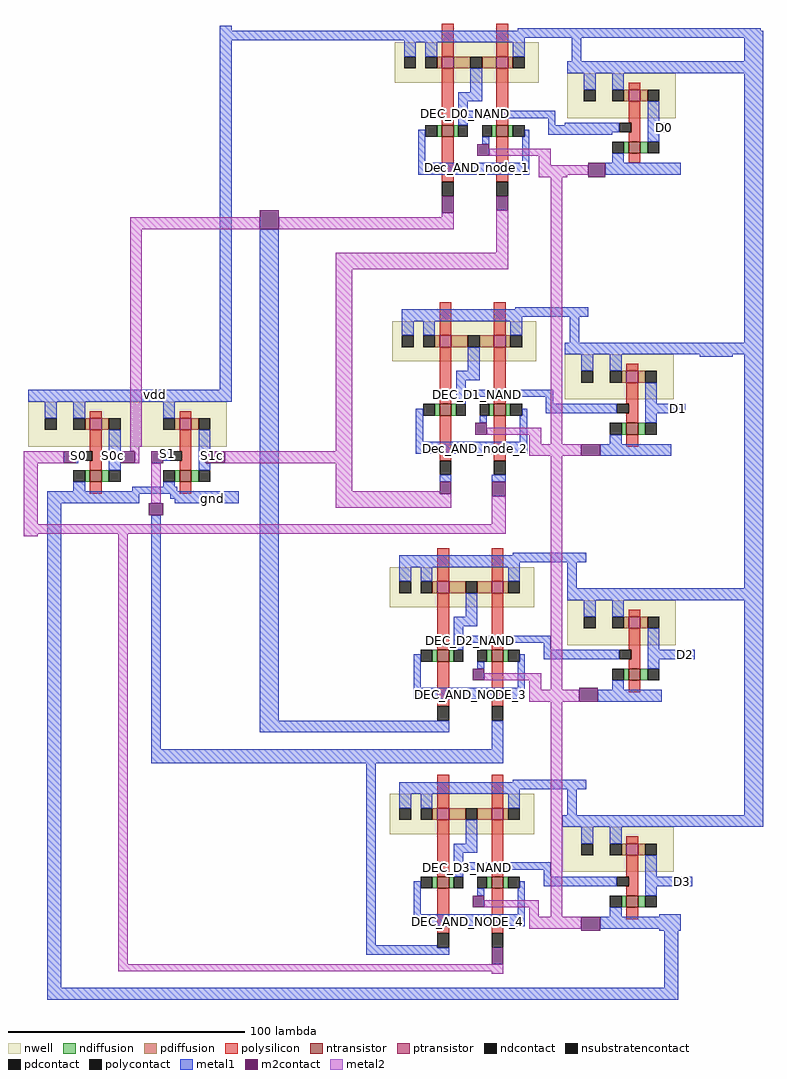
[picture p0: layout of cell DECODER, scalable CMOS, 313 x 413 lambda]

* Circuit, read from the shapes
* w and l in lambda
.subckt DECODER D0 D1 D2 D3 DEC_AND_NODE_3 DEC_AND_NODE_4 DEC_D0_NAND DEC_D1_NAND DEC_D2_NAND DEC_D3_NAND Dec_AND_node_1 Dec_AND_node_2 S0 S0c S1 S1c gnd vdd
M1 S0c S0 gnd VSUBS nfet w=5 l=5
M2 S1c S1 gnd VSUBS nfet w=5 l=5
M3 DEC_D3_NAND S1 DEC_AND_NODE_4 VSUBS nfet w=5 l=5
M4 DEC_D2_NAND S0c DEC_AND_NODE_3 VSUBS nfet w=5 l=5
M5 DEC_D1_NAND S1c Dec_AND_node_2 VSUBS nfet w=5 l=5
M6 DEC_D0_NAND S0c Dec_AND_node_1 VSUBS nfet w=5 l=5
M7 DEC_AND_NODE_4 S0 gnd VSUBS nfet w=5 l=5
M8 DEC_AND_NODE_3 S1 gnd VSUBS nfet w=5 l=5
M9 Dec_AND_node_2 S0 gnd VSUBS nfet w=5 l=5
M10 Dec_AND_node_1 S1c gnd VSUBS nfet w=5 l=5
M11 D3 DEC_D3_NAND gnd VSUBS nfet w=5 l=5
M12 D1 DEC_D1_NAND gnd VSUBS nfet w=5 l=5
M13 D2 DEC_D2_NAND gnd VSUBS nfet w=5 l=5
M14 D0 DEC_D0_NAND gnd VSUBS nfet w=5 l=5
M15 S0c S0 vdd vdd pfet w=5 l=5
M16 S1c S1 vdd vdd pfet w=5 l=5
M17 DEC_D3_NAND S1 vdd vdd pfet w=5 l=5
M18 DEC_D2_NAND S0c vdd vdd pfet w=5 l=5
M19 DEC_D1_NAND S1c vdd vdd pfet w=5 l=5
M20 DEC_D0_NAND S0c vdd vdd pfet w=5 l=5
M21 vdd S0 DEC_D3_NAND vdd pfet w=5 l=5
M22 vdd S1 DEC_D2_NAND vdd pfet w=5 l=5
M23 vdd S0 DEC_D1_NAND vdd pfet w=5 l=5
M24 vdd S1c DEC_D0_NAND vdd pfet w=5 l=5
M25 D3 DEC_D3_NAND vdd vdd pfet w=5 l=5
M26 D1 DEC_D1_NAND vdd vdd pfet w=5 l=5
M27 D2 DEC_D2_NAND vdd vdd pfet w=5 l=5
M28 D0 DEC_D0_NAND vdd vdd pfet w=5 l=5
.ends

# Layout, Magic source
magic
tech scmos
<< nwell >>
rect 157 388 218 405
rect 230 373 276 392
rect 156 270 217 287
rect 229 254 275 273
rect 2 234 86 253
rect 155 166 216 183
rect 230 150 276 169
rect 155 70 216 87
rect 228 54 275 73
<< ntransistor >>
rect 177 365 182 370
rect 200 365 205 370
rect 256 358 261 363
rect 176 247 181 252
rect 199 247 204 252
rect 28 219 33 224
rect 66 219 71 224
rect 255 239 260 244
rect 175 143 180 148
rect 198 143 203 148
rect 256 135 261 140
rect 175 47 180 52
rect 198 47 203 52
rect 255 39 260 44
<< ptransistor >>
rect 177 394 182 399
rect 200 394 205 399
rect 256 380 261 385
rect 176 276 181 281
rect 199 276 204 281
rect 255 261 260 266
rect 28 241 33 246
rect 66 241 71 246
rect 175 172 180 177
rect 198 172 203 177
rect 256 157 261 162
rect 175 76 180 81
rect 198 76 203 81
rect 255 61 260 66
<< ndiffusion >>
rect 175 365 177 370
rect 182 365 184 370
rect 198 365 200 370
rect 205 365 207 370
rect 254 358 256 363
rect 261 358 264 363
rect 174 247 176 252
rect 181 247 183 252
rect 197 247 199 252
rect 204 247 206 252
rect 26 219 28 224
rect 33 219 36 224
rect 64 219 66 224
rect 71 219 74 224
rect 253 239 255 244
rect 260 239 263 244
rect 173 143 175 148
rect 180 143 182 148
rect 196 143 198 148
rect 203 143 205 148
rect 254 135 256 140
rect 261 135 264 140
rect 173 47 175 52
rect 180 47 182 52
rect 196 47 198 52
rect 203 47 205 52
rect 253 39 255 44
rect 260 39 263 44
<< pdiffusion >>
rect 175 394 177 399
rect 182 394 189 399
rect 194 394 200 399
rect 205 394 207 399
rect 254 380 256 385
rect 261 380 264 385
rect 174 276 176 281
rect 181 276 188 281
rect 193 276 199 281
rect 204 276 206 281
rect 253 261 255 266
rect 260 261 263 266
rect 26 241 28 246
rect 33 241 36 246
rect 64 241 66 246
rect 71 241 74 246
rect 173 172 175 177
rect 180 172 187 177
rect 192 172 198 177
rect 203 172 205 177
rect 254 157 256 162
rect 261 157 264 162
rect 173 76 175 81
rect 180 76 187 81
rect 192 76 198 81
rect 203 76 205 81
rect 253 61 255 66
rect 260 61 263 66
<< ndcontact >>
rect 170 365 175 370
rect 184 365 188 370
rect 194 365 198 370
rect 207 365 212 370
rect 249 358 254 363
rect 264 358 269 363
rect 169 247 174 252
rect 183 247 187 252
rect 193 247 197 252
rect 206 247 211 252
rect 21 219 26 224
rect 36 219 41 224
rect 59 219 64 224
rect 74 219 79 224
rect 248 239 253 244
rect 263 239 268 244
rect 168 143 173 148
rect 182 143 186 148
rect 192 143 196 148
rect 205 143 210 148
rect 249 135 254 140
rect 264 135 269 140
rect 168 47 173 52
rect 182 47 186 52
rect 192 47 196 52
rect 205 47 210 52
rect 248 39 253 44
rect 263 39 268 44
<< pdcontact >>
rect 170 394 175 399
rect 189 394 194 399
rect 207 394 212 399
rect 249 380 254 385
rect 264 380 269 385
rect 169 276 174 281
rect 188 276 193 281
rect 206 276 211 281
rect 248 261 253 266
rect 263 261 268 266
rect 21 241 26 246
rect 36 241 41 246
rect 59 241 64 246
rect 74 241 79 246
rect 168 172 173 177
rect 187 172 192 177
rect 205 172 210 177
rect 249 157 254 162
rect 264 157 269 162
rect 168 76 173 81
rect 187 76 192 81
rect 205 76 210 81
rect 248 61 253 66
rect 263 61 268 66
<< nsubstratencontact >>
rect 161 394 166 399
rect 237 380 242 385
rect 160 276 165 281
rect 236 261 241 266
rect 9 241 14 246
rect 159 172 164 177
rect 237 157 242 162
rect 159 76 164 81
rect 236 61 241 66
<< polysilicon >>
rect 177 399 182 413
rect 200 399 205 413
rect 177 370 182 394
rect 200 370 205 394
rect 256 385 261 388
rect 256 371 261 380
rect 257 367 261 371
rect 177 346 182 365
rect 200 346 205 365
rect 256 363 261 367
rect 256 354 261 358
rect 176 281 181 295
rect 199 281 204 295
rect 176 252 181 276
rect 199 252 204 276
rect 255 266 260 269
rect 255 252 260 261
rect 28 246 33 249
rect 66 246 71 249
rect 256 248 260 252
rect 28 232 33 241
rect 66 232 71 241
rect 29 228 33 232
rect 67 228 71 232
rect 28 224 33 228
rect 66 224 71 228
rect 176 228 181 247
rect 199 228 204 247
rect 255 244 260 248
rect 255 234 260 239
rect 28 214 33 219
rect 66 214 71 219
rect 175 177 180 191
rect 198 177 203 191
rect 175 148 180 172
rect 198 148 203 172
rect 256 162 261 165
rect 256 148 261 157
rect 257 144 261 148
rect 175 124 180 143
rect 198 124 203 143
rect 256 140 261 144
rect 256 130 261 135
rect 175 81 180 95
rect 198 81 203 95
rect 175 52 180 76
rect 198 52 203 76
rect 255 66 260 69
rect 255 52 260 61
rect 256 48 260 52
rect 175 28 180 47
rect 198 28 203 47
rect 255 44 260 48
rect 255 34 260 39
<< polycontact >>
rect 252 367 257 371
rect 177 340 182 346
rect 200 340 205 346
rect 251 248 256 252
rect 24 228 29 232
rect 62 228 67 232
rect 176 222 181 228
rect 199 222 204 228
rect 252 144 257 148
rect 175 118 180 124
rect 198 118 203 124
rect 251 48 256 52
rect 175 22 180 28
rect 198 22 203 28
<< metal1 >>
rect 83 410 88 412
rect 209 410 312 411
rect 83 407 313 410
rect 83 406 212 407
rect 83 258 88 406
rect 161 405 212 406
rect 161 399 166 405
rect 170 399 175 405
rect 207 399 212 405
rect 232 397 236 407
rect 305 397 313 407
rect 189 384 194 394
rect 230 392 313 397
rect 184 380 194 384
rect 237 385 242 392
rect 249 385 254 392
rect 184 376 188 380
rect 184 373 225 376
rect 184 370 188 373
rect 222 370 225 373
rect 264 371 269 380
rect 229 370 252 371
rect 167 354 170 368
rect 212 365 214 368
rect 222 367 252 370
rect 264 367 272 371
rect 222 366 249 367
rect 194 362 197 365
rect 211 354 214 365
rect 264 363 269 367
rect 249 354 254 358
rect 167 349 214 354
rect 246 349 278 354
rect 2 253 88 258
rect 9 246 14 253
rect 21 246 26 253
rect 59 246 64 253
rect 22 228 24 232
rect 22 227 23 228
rect 36 224 41 241
rect 74 232 79 241
rect 59 228 62 232
rect 74 227 77 232
rect 74 224 79 227
rect 21 215 26 219
rect 59 217 64 219
rect 46 215 65 217
rect 10 214 91 215
rect 10 210 49 214
rect 62 212 91 214
rect 64 210 91 212
rect 10 5 16 210
rect 54 106 58 205
rect 100 118 108 326
rect 208 292 239 293
rect 160 289 239 292
rect 160 287 211 289
rect 160 281 165 287
rect 169 281 174 287
rect 206 281 211 287
rect 231 278 235 289
rect 305 278 313 392
rect 188 266 193 276
rect 229 273 313 278
rect 183 262 193 266
rect 236 266 241 273
rect 183 258 187 262
rect 248 266 253 273
rect 286 272 300 273
rect 183 255 224 258
rect 183 252 187 255
rect 221 252 224 255
rect 263 252 268 261
rect 166 236 169 250
rect 211 247 213 250
rect 221 248 251 252
rect 263 248 280 252
rect 193 244 196 247
rect 210 236 213 247
rect 263 244 268 248
rect 166 231 213 236
rect 248 235 253 239
rect 244 230 274 235
rect 176 219 181 222
rect 198 219 204 222
rect 207 188 238 189
rect 159 185 238 188
rect 159 183 210 185
rect 159 177 164 183
rect 168 177 173 183
rect 205 177 210 183
rect 230 174 234 185
rect 305 174 313 273
rect 187 162 192 172
rect 230 169 313 174
rect 182 158 192 162
rect 237 162 242 169
rect 182 154 186 158
rect 249 162 254 169
rect 182 151 223 154
rect 182 148 186 151
rect 220 148 223 151
rect 264 148 269 157
rect 165 132 168 146
rect 210 143 212 146
rect 220 144 252 148
rect 264 144 284 148
rect 192 140 195 143
rect 209 132 212 143
rect 264 140 269 144
rect 165 127 212 132
rect 249 131 254 135
rect 243 126 270 131
rect 100 113 180 118
rect 198 106 203 118
rect 54 100 203 106
rect 145 23 149 100
rect 207 92 238 93
rect 159 89 238 92
rect 159 87 210 89
rect 159 81 164 87
rect 168 81 173 87
rect 205 81 210 87
rect 230 78 234 89
rect 305 78 313 169
rect 187 66 192 76
rect 228 73 313 78
rect 182 62 192 66
rect 236 66 241 73
rect 182 58 186 62
rect 248 66 253 73
rect 182 55 223 58
rect 182 52 186 55
rect 220 52 223 55
rect 263 52 268 61
rect 165 36 168 50
rect 210 47 212 50
rect 220 48 251 52
rect 263 48 283 52
rect 192 44 195 47
rect 209 36 212 47
rect 263 44 268 48
rect 165 31 212 36
rect 248 35 253 39
rect 269 35 278 36
rect 244 30 278 35
rect 269 29 278 30
rect 145 22 175 23
rect 145 19 180 22
rect 271 5 277 29
rect 10 0 277 5
<< m2contact >>
rect 192 357 197 362
rect 239 348 246 354
rect 100 326 108 334
rect 177 333 182 340
rect 200 334 205 340
rect 17 227 22 232
rect 41 227 47 232
rect 54 227 59 232
rect 77 227 85 232
rect 53 205 59 210
rect 191 239 196 244
rect 236 230 244 235
rect 176 214 181 219
rect 198 213 204 219
rect 190 135 195 140
rect 235 126 243 132
rect 190 39 195 44
rect 236 29 244 35
rect 198 15 203 22
<< metal2 >>
rect 197 357 223 360
rect 218 353 223 357
rect 218 349 239 353
rect 218 348 230 349
rect 45 326 100 331
rect 177 331 182 333
rect 108 326 182 331
rect 45 234 50 326
rect 200 316 205 334
rect 132 309 205 316
rect 45 232 49 234
rect 132 232 139 309
rect 196 239 219 242
rect 0 227 17 232
rect 47 227 49 232
rect 85 227 139 232
rect 214 235 219 239
rect 223 235 228 348
rect 214 230 236 235
rect 0 201 6 227
rect 54 210 58 227
rect 132 215 139 227
rect 132 214 176 215
rect 132 208 181 214
rect 198 201 204 213
rect 0 197 204 201
rect 0 196 6 197
rect 40 15 44 197
rect 195 135 219 138
rect 214 131 219 135
rect 223 131 228 230
rect 214 126 235 131
rect 195 39 218 42
rect 214 35 218 39
rect 223 35 228 126
rect 214 30 236 35
rect 40 12 203 15
rect 198 11 203 12
<< labels >>
rlabel metal1 38 230 38 230 1 S0c
rlabel metal1 23 230 23 230 1 S0
rlabel metal1 61 231 61 231 1 S1
rlabel metal1 277 250 277 250 1 D1
rlabel metal1 271 369 271 369 1 D0
rlabel metal1 279 50 279 50 1 D3
rlabel metal1 188 33 188 33 1 DEC_AND_NODE_4
rlabel metal1 188 56 188 56 1 DEC_D3_NAND
rlabel metal1 280 146 280 146 1 D2
rlabel metal1 189 129 189 129 1 DEC_AND_NODE_3
rlabel metal1 189 152 189 152 1 DEC_D2_NAND
rlabel metal1 191 233 191 233 1 Dec_AND_node_2
rlabel metal1 192 256 192 256 1 DEC_D1_NAND
rlabel metal1 187 375 187 375 1 DEC_D0_NAND
rlabel metal1 192 352 192 352 1 Dec_AND_node_1
rlabel m2contact 80 230 80 230 1 S1c
rlabel metal1 80 212 80 212 1 gnd
rlabel metal1 56 256 56 256 1 vdd
<< end >>
